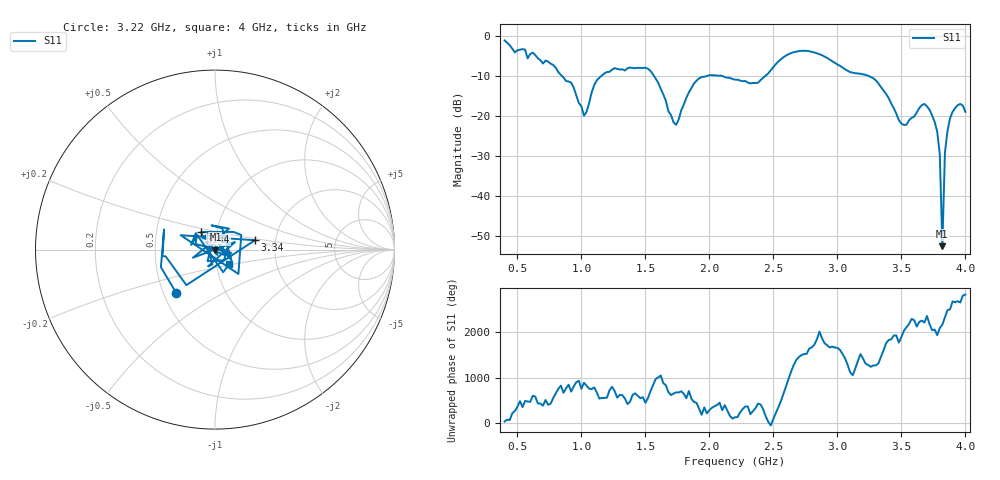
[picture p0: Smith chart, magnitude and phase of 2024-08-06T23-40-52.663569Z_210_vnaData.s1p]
!Created with skrf (http://scikit-rf.org).
# Hz S RI R 50.0
!freq ReS11 ImS11
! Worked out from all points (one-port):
!   181 points, 400 MHz to 4 GHz, reference 50 ohm
!   lowest |S11| = -52.5 dB at 3.82 GHz (marker M1), VSWR 1.00, Z = 50.2 + j0.0432 ohm
!   |S11| at or under -10 dB: 1.566 GHz to 1.987 GHz (420.7 MHz wide, 23.7 % of centre); 2.089 GHz to 2.44 GHz (350.7 MHz wide, 15.5 % of centre); 3.241 GHz to end of sweep (the widest 3 of 4)
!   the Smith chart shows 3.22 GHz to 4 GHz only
!   S11 on the Smith chart (normalised r, x): 3.22 GHz: 0.58, -0.32; 3.34 GHz: 1.56, +0.17; 3.44 GHz: 0.84, +0.17; 4 GHz: 1.16, -0.19
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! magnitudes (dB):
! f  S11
! 400 MHz  -1.2
! 860 MHz  -10.4
! 920 MHz  -11.7
! 1.02 GHz  -20.0
! 1.12 GHz  -11.2
! 1.3 GHz  -8.4
! 1.54 GHz  -8.8
! 1.72 GHz  -21.6
! 1.76 GHz  -20.9
! 1.92 GHz  -10.6
! 2.2 GHz  -11.0
! 2.38 GHz  -11.7
! 2.66 GHz  -4.1
! 2.86 GHz  -4.6
! 3.1 GHz  -9.1
! 3.22 GHz  -9.8
! 3.34 GHz  -12.8
! 3.44 GHz  -18.1
! 3.5 GHz  -21.9
! 3.56 GHz  -21.1
! 3.68 GHz  -17.0
! 3.76 GHz  -21.5
! 3.8 GHz  -29.6
! 3.82 GHz  -52.5
! 3.84 GHz  -29.2
! 3.86 GHz  -23.8
! 3.94 GHz  -17.3
! 4 GHz  -19.0
